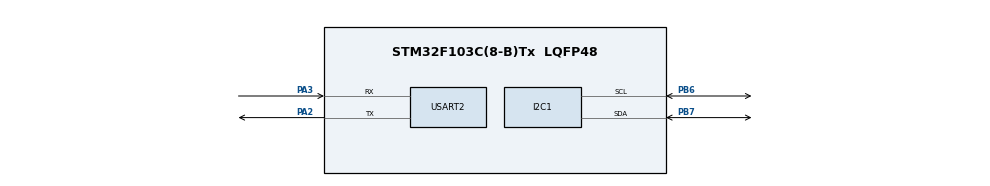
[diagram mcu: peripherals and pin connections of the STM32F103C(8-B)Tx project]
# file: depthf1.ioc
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Dma.Request0=USART2_RX
Dma.Request1=USART2_TX
Dma.USART2_RX.0.Direction=DMA_PERIPH_TO_MEMORY
Dma.USART2_RX.0.Instance=DMA1_Channel6
Dma.USART2_RX.0.MemDataAlignment=DMA_MDATAALIGN_BYTE
Dma.USART2_RX.0.MemInc=DMA_MINC_ENABLE
Dma.USART2_RX.0.Mode=DMA_NORMAL
Dma.USART2_RX.0.PeriphDataAlignment=DMA_PDATAALIGN_BYTE
Dma.USART2_RX.0.PeriphInc=DMA_PINC_DISABLE
Dma.USART2_RX.0.Priority=DMA_PRIORITY_LOW
Dma.USART2_TX.1.Direction=DMA_MEMORY_TO_PERIPH
Dma.USART2_TX.1.Instance=DMA1_Channel7
Dma.USART2_TX.1.MemDataAlignment=DMA_MDATAALIGN_BYTE
Dma.USART2_TX.1.MemInc=DMA_MINC_ENABLE
Dma.USART2_TX.1.Mode=DMA_NORMAL
Dma.USART2_TX.1.PeriphDataAlignment=DMA_PDATAALIGN_BYTE
Dma.USART2_TX.1.PeriphInc=DMA_PINC_DISABLE
Dma.USART2_TX.1.Priority=DMA_PRIORITY_LOW
Mcu.Family=STM32F1
Mcu.Name=STM32F103C(8-B)Tx
Mcu.Package=LQFP48
NVIC.DMA1_Channel6_IRQn=true\:0\:0\:false\:false\:true\:false\:true\:true
NVIC.DMA1_Channel7_IRQn=true\:0\:0\:false\:false\:true\:false\:true\:true
NVIC.PriorityGroup=NVIC_PRIORITYGROUP_4
NVIC.USART2_IRQn=true\:0\:0\:false\:false\:true\:true\:true\:true
PA13.Mode=Serial_Wire
PA13.Signal=SYS_JTMS-SWDIO
PA14.Mode=Serial_Wire
PA14.Signal=SYS_JTCK-SWCLK
PA2.Mode=Asynchronous
PA2.Signal=USART2_TX
PA3.Mode=Asynchronous
PA3.Signal=USART2_RX
PB6.Mode=I2C
PB6.Signal=I2C1_SCL
PB7.Mode=I2C
PB7.Signal=I2C1_SDA
ProjectManager.HeapSize=0x200
ProjectManager.StackSize=0x400
ProjectManager.TargetToolchain=STM32CubeIDE
RCC.APB1Freq_Value=8000000
RCC.APB2Freq_Value=8000000
USART2.VirtualMode=VM_ASYNC
board=custom

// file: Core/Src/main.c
/* USER CODE BEGIN Header */
/**
  ******************************************************************************
  * @file           : main.c
  * @brief          : Main program body
  ******************************************************************************
  * @attention
  *
  * Copyright (c) 2026 STMicroelectronics.
  * All rights reserved.
  *
  * This software is licensed under terms that can be found in the LICENSE file
  * in the root directory of this software component.
  * If no LICENSE file comes with this software, it is provided AS-IS.
  *
  ******************************************************************************
  */
/* USER CODE END Header */
#include "main.h"
#include "dma.h"
#include "i2c.h"
#include "usart.h"
#include "gpio.h"

/* USER CODE BEGIN Includes */
#include "ms5837.h"
#include <stdio.h>
/* USER CODE END Includes */

/* USER CODE BEGIN PV */
static uint8_t sensor_initialized;
/* USER CODE END PV */

void SystemClock_Config(void);

/* USER CODE BEGIN 0 */
static HAL_StatusTypeDef UART2_SendDepth(MS5837_StatusTypeDef status)
{
    char buf[224];
    int len;

    if (status == MS5837_OK) {
        len = snprintf(buf, sizeof(buf),
                       "OK model=%s Pressure=%.2f mbar Temp=%.2f C Depth=%.2f cm Ref=%.2f D1=%lu D2=%lu\r\n",
                       MS5837_ModelName(), (double)Pressure_mbar,
                       (double)Temperature, (double)Depth, (double)Atmosphere_mbar,
                       (unsigned long)D1_Pres, (unsigned long)D2_Temp);
    } else {
        len = snprintf(buf, sizeof(buf),
                       "ERR %s step=%s HAL=%u I2C=0x%08lX SCL=%u SDA=%u BUSY=%u PROM[%u] ver=0x%02X CRC=%u/%u D1=%lu D2=%lu\r\n",
                       MS5837_StatusName(status), MS5837_Diagnostics.stage,
                       (unsigned int)MS5837_Diagnostics.hal_status,
                       (unsigned long)MS5837_Diagnostics.hal_error,
                       (unsigned int)HAL_GPIO_ReadPin(GPIOB, GPIO_PIN_6),
                       (unsigned int)HAL_GPIO_ReadPin(GPIOB, GPIO_PIN_7),
                       (unsigned int)(__HAL_I2C_GET_FLAG(&hi2c1, I2C_FLAG_BUSY) != RESET),
                       (unsigned int)MS5837_Diagnostics.prom_index,
                       (unsigned int)MS5837_Diagnostics.version,
                       (unsigned int)MS5837_Diagnostics.crc_actual,
                       (unsigned int)MS5837_Diagnostics.crc_expected,
                       (unsigned long)D1_Pres, (unsigned long)D2_Temp);
    }

    if (len <= 0 || len >= (int)sizeof(buf)) {
        return HAL_ERROR;
    }

    return HAL_UART_Transmit(&huart2,
                             (uint8_t *)buf,
                             (uint16_t)len,
                             100);
}

static void UART2_SendPROM(void)
{
    char buf[160];
    int len = snprintf(buf, sizeof(buf),
                       "PROM C0=%04lX C1=%lu C2=%lu C3=%lu C4=%lu C5=%lu C6=%lu\r\n",
                       (unsigned long)Cal_C[0], (unsigned long)Cal_C[1],
                       (unsigned long)Cal_C[2], (unsigned long)Cal_C[3],
                       (unsigned long)Cal_C[4], (unsigned long)Cal_C[5],
                       (unsigned long)Cal_C[6]);
    if (len > 0 && len < (int)sizeof(buf)) {
        HAL_UART_Transmit(&huart2, (uint8_t *)buf, (uint16_t)len, 100);
    }
}
/* USER CODE END 0 */

int main(void)
{

  /* MCU Configuration--------------------------------------------------------*/

  /* Reset of all peripherals, Initializes the Flash interface and the Systick. */
  HAL_Init();

  /* Configure the system clock */
  SystemClock_Config();

  /* Initialize all configured peripherals */
  MX_GPIO_Init();
  MX_DMA_Init();
  MX_I2C1_Init();
  MX_USART2_UART_Init();
  /* USER CODE BEGIN 2 */
  static const char banner[] = "MS5837 diag-v2 I2C1 PB6/PB7 addr=0x76 UART2=115200\r\n";
  HAL_Delay(100);
  HAL_UART_Transmit(&huart2, (uint8_t *)banner, sizeof(banner) - 1, 100);
  /* USER CODE END 2 */

  /* Infinite loop */
  /* USER CODE BEGIN WHILE */
  while (1)
  {
    MS5837_StatusTypeDef status;
    if (!sensor_initialized) {
      status = MS5837_init();
      sensor_initialized = status == MS5837_OK;
      if (Cal_C[0] != 0 || Cal_C[1] != 0) {
        UART2_SendPROM();
      }
      if (sensor_initialized) {
        status = MS5837_Getdata();
      }
    } else {
      status = MS5837_Getdata();
    }
    UART2_SendDepth(status);
    HAL_Delay(1000);
    /* USER CODE END WHILE */

  }
}

void SystemClock_Config(void)
{
  RCC_OscInitTypeDef RCC_OscInitStruct = {0};
  RCC_ClkInitTypeDef RCC_ClkInitStruct = {0};

  /** Initializes the RCC Oscillators according to the specified parameters
  * in the RCC_OscInitTypeDef structure.
  */
  RCC_OscInitStruct.OscillatorType = RCC_OSCILLATORTYPE_HSI;
  RCC_OscInitStruct.HSIState = RCC_HSI_ON;
  RCC_OscInitStruct.HSICalibrationValue = RCC_HSICALIBRATION_DEFAULT;
  RCC_OscInitStruct.PLL.PLLState = RCC_PLL_NONE;
  if (HAL_RCC_OscConfig(&RCC_OscInitStruct) != HAL_OK)
  {
    Error_Handler();
  }

  /** Initializes the CPU, AHB and APB buses clocks
  */
  RCC_ClkInitStruct.ClockType = RCC_CLOCKTYPE_HCLK|RCC_CLOCKTYPE_SYSCLK
                              |RCC_CLOCKTYPE_PCLK1|RCC_CLOCKTYPE_PCLK2;
  RCC_ClkInitStruct.SYSCLKSource = RCC_SYSCLKSOURCE_HSI;
  RCC_ClkInitStruct.AHBCLKDivider = RCC_SYSCLK_DIV1;
  RCC_ClkInitStruct.APB1CLKDivider = RCC_HCLK_DIV1;
  RCC_ClkInitStruct.APB2CLKDivider = RCC_HCLK_DIV1;

  if (HAL_RCC_ClockConfig(&RCC_ClkInitStruct, FLASH_LATENCY_0) != HAL_OK)
  {
    Error_Handler();
  }
}

void Error_Handler(void)
{
  __disable_irq();
  while (1)
  {
  }
}
